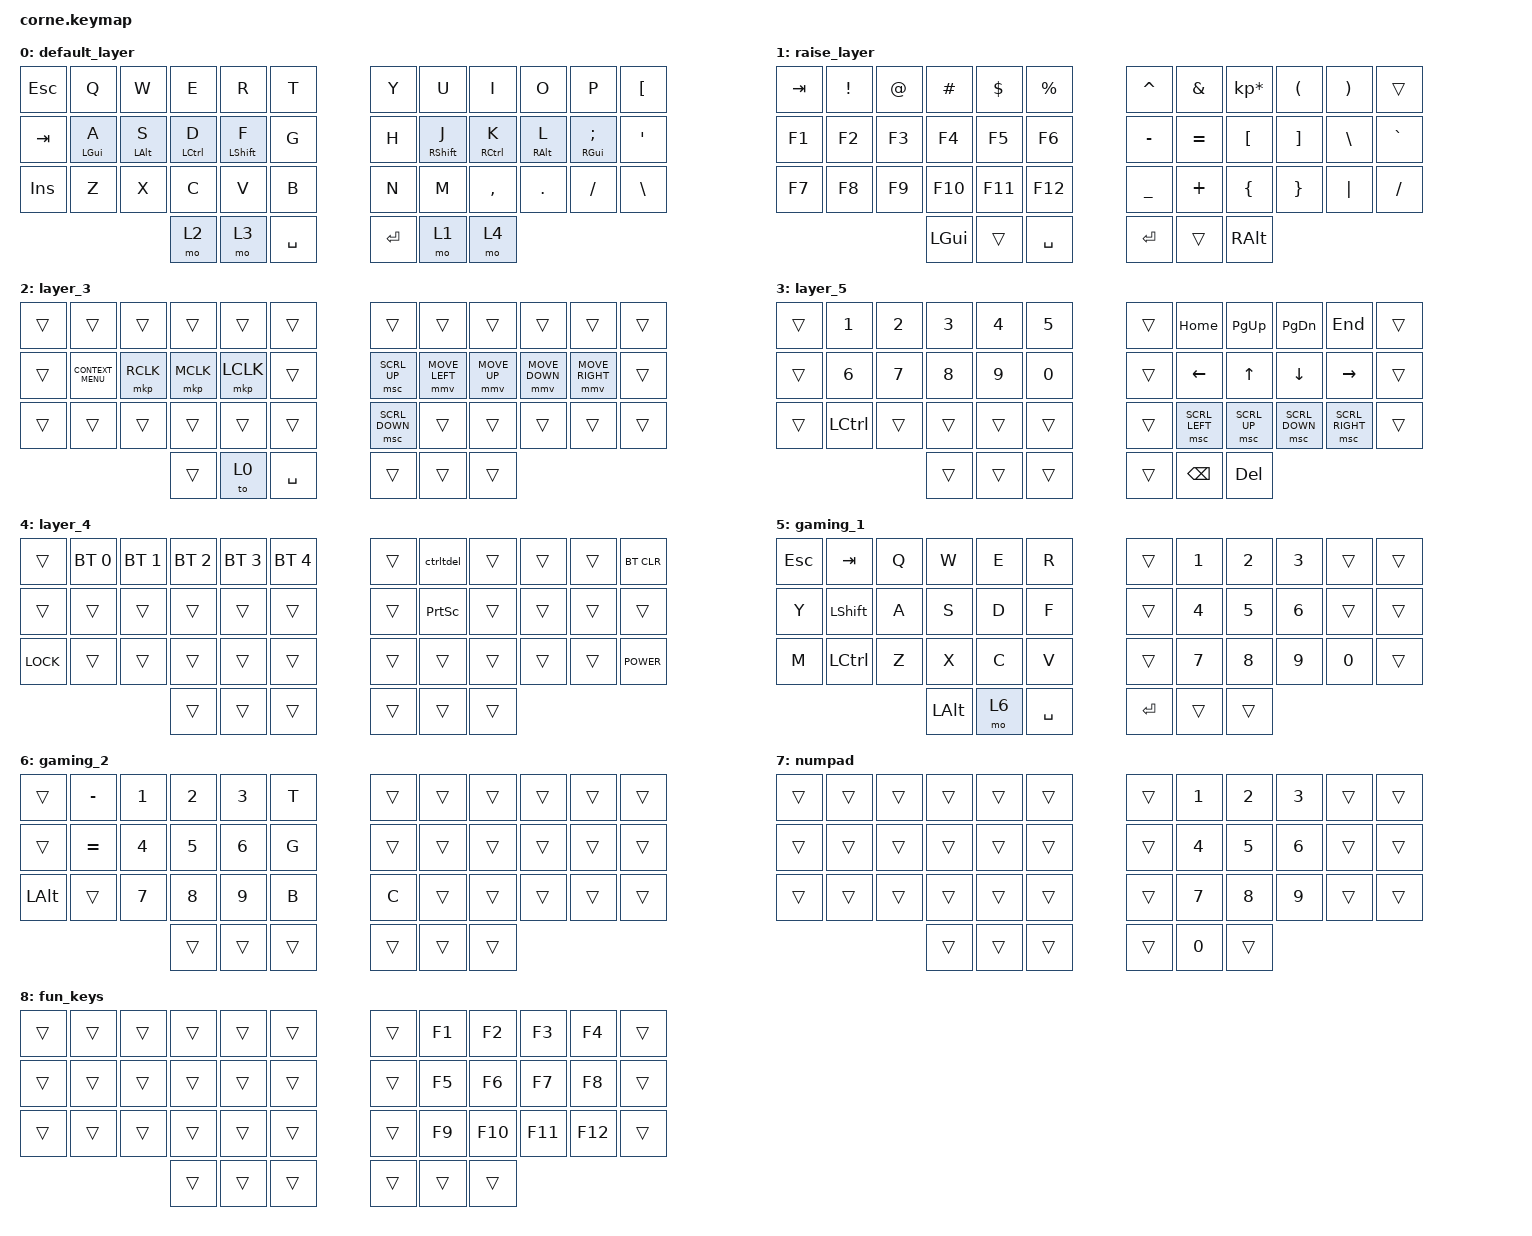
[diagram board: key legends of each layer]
/*
 * Copyright (c) 2020 The ZMK Contributors
 *
 * SPDX-License-Identifier: MIT
 */

#define ZMK_POINTING_DEFAULT_MOVE_VAL 1500  // default: 600
#define ZMK_POINTING_DEFAULT_SCRL_VAL 20    // default: 10

#include <dt-bindings/zmk/mouse.h>
#include <behaviors.dtsi>
#include <dt-bindings/zmk/bt.h>
#include <dt-bindings/zmk/keys.h>
#include <dt-bindings/zmk/pointing.h>

// &nice_view_spi { cs-gpios = <&pro_micro 0 GPIO_ACTIVE_HIGH>; };

/ {
    behaviors {
        hml: hml {
            compatible = "zmk,behavior-hold-tap";
            label = "HML";
            bindings = <&kp>, <&kp>;

            #binding-cells = <2>;
            tapping-term-ms = <160>;
            flavor = "tap-preferred";
            hold-trigger-on-release;
            hold-trigger-key-positions = <0 1 2 3 4 5 12 13 14 15 16 17 24 25 26 27 28 29 36 37 38>;
        };

        hmr: hmr {
            compatible = "zmk,behavior-hold-tap";
            label = "HMR";
            bindings = <&kp>, <&kp>;

            #binding-cells = <2>;
            tapping-term-ms = <160>;
            flavor = "tap-preferred";
            hold-trigger-on-release;
            hold-trigger-key-positions = <6 7 8 9 10 11 18 19 20 21 22 23 30 31 32 33 34 35 39 40 41>;
        };
    };

    combos {
        compatible = "zmk,combos";

        danger {
            bindings = <&bt BT_CLR_ALL>;
            key-positions = <0 11>;
            layers = <4>;
        };

        game {
            bindings = <&to 5>;
            key-positions = <0 1 2>;
            layers = <0>;
        };

        basic {
            bindings = <&to 0>;
            key-positions = <1 0 2>;
            layers = <5>;
        };

        dot {
            bindings = <&kp DOT>;
            key-positions = <22 21>;
            layers = <0>;
        };

        comma {
            bindings = <&kp COMMA>;
            key-positions = <21 20>;
            layers = <0>;
        };

        col {
            bindings = <&kp COLON>;
            key-positions = <22 21 19>;
            layers = <0>;
        };

        semicol {
            bindings = <&kp SEMI>;
            key-positions = <21 20 19>;
            layers = <0>;
        };

        sqt {
            bindings = <&kp SQT>;
            key-positions = <8 21>;
            layers = <0>;
        };

        dqt {
            bindings = <&kp DOUBLE_QUOTES>;
            key-positions = <21 7>;
            layers = <0>;
        };

        under {
            bindings = <&kp UNDERSCORE>;
            key-positions = <30 31>;
            layers = <0>;
        };

        eq {
            bindings = <&kp EQUAL>;
            key-positions = <6 7>;
            layers = <0>;
        };

        minus {
            bindings = <&kp MINUS>;
            key-positions = <18 19>;
            layers = <0>;
        };

        plus {
            bindings = <&kp PLUS>;
            key-positions = <18 18 20 19>;
            layers = <0>;
        };

        brac {
            bindings = <&kp LEFT_BRACKET>;
            key-positions = <40 7>;
            layers = <0>;
        };

        clbr {
            bindings = <&kp RIGHT_BRACKET>;
            key-positions = <40 8>;
            layers = <0>;
        };

        lftpr {
            bindings = <&kp LEFT_PARENTHESIS>;
            key-positions = <40 19>;
            layers = <0>;
        };

        rpt {
            bindings = <&kp RIGHT_PARENTHESIS>;
            key-positions = <40 20>;
            layers = <0>;
        };

        lftbrs {
            bindings = <&kp LEFT_BRACE>;
            key-positions = <40 31>;
            layers = <0>;
        };

        rbrst {
            bindings = <&kp RIGHT_BRACE>;
            key-positions = <40 32>;
            layers = <0>;
        };

        ats {
            bindings = <&kp AT_SIGN>;
            key-positions = <7 20 21>;
            layers = <0>;
        };

        amp {
            bindings = <&kp AMPERSAND>;
            key-positions = <20 18>;
            layers = <0>;
        };

        mul {
            bindings = <&kp ASTERISK>;
            key-positions = <30 31 32>;
            layers = <0>;
        };

        hsh {
            bindings = <&kp POUND>;
            key-positions = <6 7 8>;
            layers = <0>;
        };

        expl {
            bindings = <&kp EXCLAMATION>;
            key-positions = <7 8 21>;
            layers = <0>;
        };

        qst {
            bindings = <&kp QUESTION>;
            key-positions = <19 20 9>;
            layers = <0>;
        };

        dlr {
            bindings = <&kp DOLLAR>;
            key-positions = <9 31 32>;
            layers = <0>;
        };

        slh {
            bindings = <&kp SLASH>;
            key-positions = <9 31 20>;
            layers = <0>;
        };

        bkslh {
            bindings = <&kp BACKSLASH>;
            key-positions = <20 7 33>;
            layers = <0>;
        };

        ltcm {
            bindings = <&kp LESS_THAN>;
            key-positions = <40 19 8>;
            layers = <0>;
        };

        gtcm {
            bindings = <&kp GREATER_THAN>;
            key-positions = <39 7 20>;
            layers = <0>;
        };

        pipcm {
            bindings = <&kp PIPE>;
            key-positions = <40 7 19>;
            layers = <0>;
        };

        crt {
            bindings = <&kp CARET>;
            key-positions = <19 21 8>;
            layers = <0>;
        };

        pctcm {
            bindings = <&kp PERCENT>;
            key-positions = <7 33>;
            layers = <0>;
        };

        grx {
            bindings = <&kp GRAVE>;
            key-positions = <7 20>;
            layers = <0>;
        };

        tild {
            bindings = <&kp TILDE>;
            key-positions = <19 9>;
            layers = <0>;
        };

        numl {
            bindings = <&mo 7>;
            key-positions = <15 16>;
            layers = <0>;
        };

        fnl {
            bindings = <&mo 8>;
            key-positions = <2 1>;
            layers = <0>;
        };
    };

    macros {
        ctrltdel: new_macro {
            compatible = "zmk,behavior-macro";
            #binding-cells = <0>;
            bindings = <&kp LC(RA(DEL))>;
            label = "NEW_MACRO";
        };
    };

    keymap {
        compatible = "zmk,keymap";

        default_layer {
            // -----------------------------------------------------------------------------------------
            // |  TAB |  Q  |  W  |  E  |  R  |  T  |   |  Y  |  U   |  I  |  O  |  P  | BKSP |
            // | CTRL |  A  |  S  |  D  |  F  |  G  |   |  H  |  J   |  K  |  L  |  ;  |  '   |
            // | SHFT |  Z  |  X  |  C  |  V  |  B  |   |  N  |  M   |  ,  |  .  |  /  | ESC  |
            //                    | GUI | LWR | SPC |   | ENT | RSE  | ALT |

            bindings = <
&kp ESC  &kp Q        &kp W        &kp E         &kp R         &kp T        &kp Y    &kp U         &kp I         &kp O        &kp P           &kp LEFT_BRACKET
&kp TAB  &hml LGUI A  &hml LALT S  &hml LCTRL D  &hml LSHFT F  &kp G        &kp H    &hmr RSHFT J  &hmr RCTRL K  &hmr RALT L  &hmr RGUI SEMI  &kp SQT
&kp INS  &kp Z        &kp X        &kp C         &kp V         &kp B        &kp N    &kp M         &kp COMMA     &kp DOT      &kp FSLH        &kp BACKSLASH
                                   &mo 2         &mo 3         &kp SPACE    &kp RET  &mo 1         &mo 4
            >;
        };

        raise_layer {
            // -----------------------------------------------------------------------------------------
            // |  TAB |  !  |  @  |  #  |  $  |  %  |   |  ^  |  &  |  *  |  (  |  )  | BKSP |
            // | CTRL |     |     |     |     |     |   |  -  |  =  |  [  |  ]  |  \  |  `   |
            // | SHFT |     |     |     |     |     |   |  _  |  +  |  {  |  }  | "|" |  ~   |
            //                    | GUI |     | SPC |   | ENT |     | ALT |

            bindings = <
&kp TAB  &kp EXCL  &kp AT  &kp HASH  &kp DLLR  &kp PRCNT    &kp CARET  &kp AMPS   &kp KP_MULTIPLY  &kp LPAR  &kp RPAR  &trans
&kp F1   &kp F2    &kp F3  &kp F4    &kp F5    &kp F6       &kp MINUS  &kp EQUAL  &kp LBKT         &kp RBKT  &kp BSLH  &kp GRAVE
&kp F7   &kp F8    &kp F9  &kp F10   &kp F11   &kp F12      &kp UNDER  &kp PLUS   &kp LBRC         &kp RBRC  &kp PIPE  &kp SLASH
                           &kp LGUI  &trans    &kp SPACE    &kp RET    &trans     &kp RALT
            >;
        };

        layer_3 {
            bindings = <
&trans  &trans              &trans     &trans     &trans     &trans       &trans          &trans          &trans        &trans          &trans           &trans
&trans  &kp K_CONTEXT_MENU  &mkp RCLK  &mkp MCLK  &mkp LCLK  &trans       &msc SCRL_UP    &mmv MOVE_LEFT  &mmv MOVE_UP  &mmv MOVE_DOWN  &mmv MOVE_RIGHT  &trans
&trans  &trans              &trans     &trans     &trans     &trans       &msc SCRL_DOWN  &trans          &trans        &trans          &trans           &trans
                                       &trans     &to 0      &kp SPACE    &trans          &trans          &trans
            >;
        };

        layer_5 {
            bindings = <
&trans  &kp N1     &kp N2  &kp N3  &kp N4  &kp N5    &trans  &kp HOME        &kp PG_UP     &kp PG_DN       &kp END          &trans
&trans  &kp N6     &kp N7  &kp N8  &kp N9  &kp N0    &trans  &kp LEFT_ARROW  &kp UP        &kp DOWN        &kp RIGHT        &trans
&trans  &kp LCTRL  &trans  &trans  &trans  &trans    &trans  &msc SCRL_LEFT  &msc SCRL_UP  &msc SCRL_DOWN  &msc SCRL_RIGHT  &trans
                           &trans  &trans  &trans    &trans  &kp BACKSPACE   &kp DEL
            >;
        };

        layer_4 {
            bindings = <
&trans      &bt BT_SEL 0  &bt BT_SEL 1  &bt BT_SEL 2  &bt BT_SEL 3  &bt BT_SEL 4    &trans  &ctrltdel        &trans  &trans  &trans  &bt BT_CLR
&trans      &trans        &trans        &trans        &trans        &trans          &trans  &kp PRINTSCREEN  &trans  &trans  &trans  &trans
&kp K_LOCK  &trans        &trans        &trans        &trans        &trans          &trans  &trans           &trans  &trans  &trans  &kp K_POWER
                                        &trans        &trans        &trans          &trans  &trans           &trans
            >;
        };

        gaming_1 {
            bindings = <
&kp ESC  &kp TAB    &kp Q  &kp W     &kp E  &kp R        &trans     &kp N1  &kp N2  &kp N3  &trans  &trans
&kp Y    &kp LSHFT  &kp A  &kp S     &kp D  &kp F        &trans     &kp N4  &kp N5  &kp N6  &trans  &trans
&kp M    &kp LCTRL  &kp Z  &kp X     &kp C  &kp V        &trans     &kp N7  &kp N8  &kp N9  &kp N0  &trans
                           &kp LALT  &mo 6  &kp SPACE    &kp ENTER  &trans  &trans
            >;
        };

        gaming_2 {
            bindings = <
&trans    &kp MINUS  &kp N1  &kp N2  &kp N3  &kp T     &trans  &trans  &trans  &trans  &trans  &trans
&trans    &kp EQUAL  &kp N4  &kp N5  &kp N6  &kp G     &trans  &trans  &trans  &trans  &trans  &trans
&kp LALT  &trans     &kp N7  &kp N8  &kp N9  &kp B     &kp C   &trans  &trans  &trans  &trans  &trans
                             &trans  &trans  &trans    &trans  &trans  &trans
            >;
        };

        numpad {
            bindings = <
&trans  &trans  &trans  &trans  &trans  &trans    &trans  &kp N1  &kp N2  &kp N3  &trans  &trans
&trans  &trans  &trans  &trans  &trans  &trans    &trans  &kp N4  &kp N5  &kp N6  &trans  &trans
&trans  &trans  &trans  &trans  &trans  &trans    &trans  &kp N7  &kp N8  &kp N9  &trans  &trans
                        &trans  &trans  &trans    &trans  &kp N0  &trans
            >;
        };

        fun_keys {
            bindings = <
&trans  &trans  &trans  &trans  &trans  &trans    &trans  &kp F1  &kp F2   &kp F3   &kp F4   &trans
&trans  &trans  &trans  &trans  &trans  &trans    &trans  &kp F5  &kp F6   &kp F7   &kp F8   &trans
&trans  &trans  &trans  &trans  &trans  &trans    &trans  &kp F9  &kp F10  &kp F11  &kp F12  &trans
                        &trans  &trans  &trans    &trans  &trans  &trans
            >;
        };
    };
};
